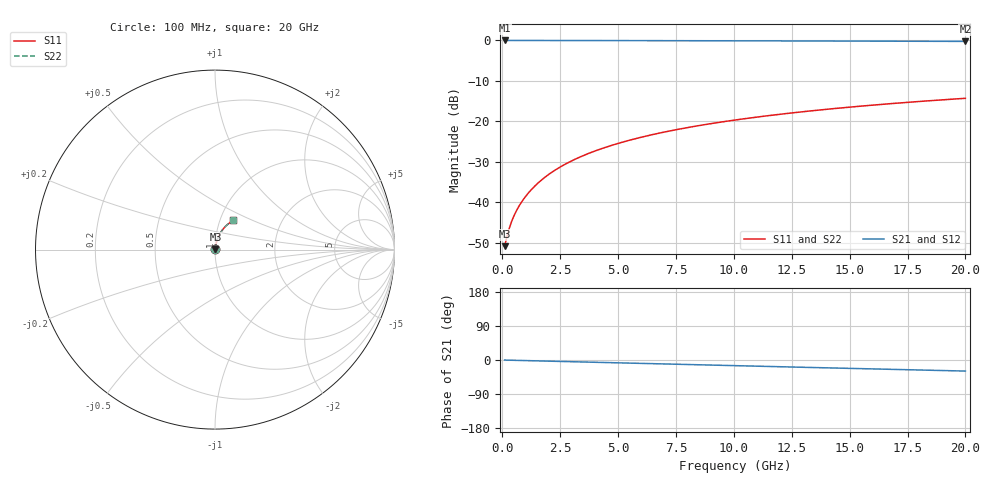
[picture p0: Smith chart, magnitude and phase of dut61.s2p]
! Touchstone file exported from HFSS 2026.1.0
!  File:  C:/ffzhzh/LocalFiles/Ansys_Project_Files/temp_train_BSMRDL_61_1782882700_8056.aedt
!  Generated:  01:12:52 PM Jul  1, 2026
!  Design:  BSMRDL
!  Project:  temp_train_BSMRDL_61_1782882700_8056
! Variables:
!  h_bsmrdl = 2.91um
!  h_ox = 20um
!  h_rdl = 5um
!  h_sub = 80um
!  h_tmrdl = 5um
!  h_tsv = 80um
!  h_via = 3um
!  l_bsmrdl = 457.28um
!  l_sub = 857.28um
!  l_tmrdl = 200um
!  m_sub = 200um
!  pitch = 38.14um
!  r_tsv = 6um
!  s_tmrdl = 10um
!  w_bsmrdl = 24.95um
!  w_sub = 500um
!  w_tmrdl = 12um
!  x_tsv_center1 = 206um
!  x_tsv_center2 = 688.23um
!  x_tsv_center3 = 900.23um
!  x_tsv_center4 = 1382.46um
!  x_tsv_center5 = 1594.46um
!  x_tsv_center6 = 2076.69um
# GHz S MA R 50.000000
! Terminal data exported
! Port[1] = BSM_RDL1_1_T1
! Port[2] = BSM_RDL1_1_T2
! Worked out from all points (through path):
!   200 points, 100 MHz to 20 GHz, reference 50 ohm
!   highest |S21| = -0.02 dB at 100 MHz (marker M1); lowest = -0.3 dB at 20 GHz (marker M2)
!   group delay of S21, straight-line fit = 4.05 ps
!   lowest |S11| = -50.9 dB at 100 MHz (marker M3), VSWR 1.01, Z = 50.3 + j0.133 ohm
!   |S11| at or under -10 dB: start of sweep to end of sweep
!   |S22| runs from -50.9 to -14.3 dB; largest |S21 - S12| = 2e-15
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0.1  0.002851 27.6  0.9975 -0.2  0.9975 -0.2  0.002851 27.6
! Gamma 0 0 0 0
! Port Impedance 50 0 50 0
0.2  0.003719 43.8  0.9973 -0.3  0.9973 -0.3  0.003719 43.8
0.3  0.004721 52.5  0.9971 -0.5  0.9971 -0.5  0.004721 52.5
0.4  0.005732 57.7  0.997 -0.6  0.997 -0.6  0.005732 57.7
0.5  0.006728 61.4  0.9968 -0.8  0.9968 -0.8  0.006728 61.4
0.6  0.007716 64.1  0.9967 -0.9  0.9967 -0.9  0.007716 64.1
0.8  0.00969 68.2  0.9966 -1.2  0.9966 -1.2  0.00969 68.2
1  0.01168 71.0  0.9964 -1.5  0.9964 -1.5  0.01168 71.0
1.2  0.0137 73.0  0.9963 -1.8  0.9963 -1.8  0.0137 73.0
1.7  0.01883 76.0  0.9961 -2.6  0.9961 -2.6  0.01883 76.0
2.2  0.02403 77.5  0.9959 -3.3  0.9959 -3.3  0.02403 77.5
2.8  0.03029 78.2  0.9956 -4.2  0.9956 -4.2  0.03029 78.2
3.5  0.03761 78.3  0.9951 -5.3  0.9951 -5.3  0.03761 78.3
4.2  0.04489 78.0  0.9946 -6.3  0.9946 -6.3  0.04489 78.0
5  0.05316 77.4  0.9939 -7.5  0.9939 -7.5  0.05316 77.4
5.9  0.06238 76.5  0.993 -8.9  0.993 -8.9  0.06238 76.5
6.8  0.0715 75.4  0.992 -10.2  0.992 -10.2  0.0715 75.4
8.3  0.08645 73.5  0.9901 -12.4  0.9901 -12.4  0.08646 73.5
10.1  0.104 71.2  0.9877 -15.0  0.9877 -15.0  0.104 71.2
13.4  0.1349 66.7  0.9827 -19.8  0.9827 -19.8  0.1349 66.7
16.7  0.1643 62.3  0.9772 -24.5  0.9772 -24.5  0.1644 62.3
20  0.1921 57.9  0.9713 -29.2  0.9713 -29.2  0.1921 57.8
